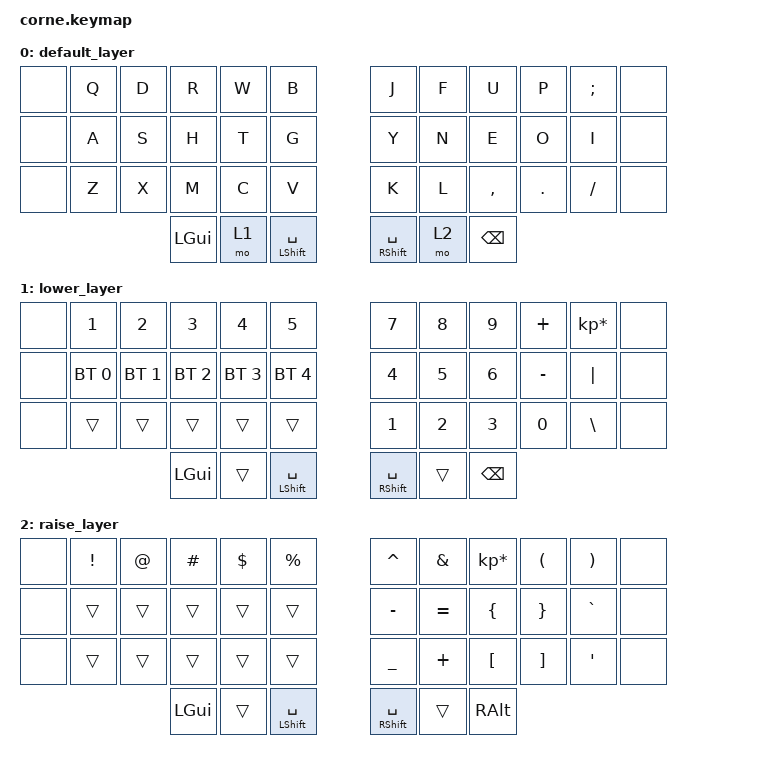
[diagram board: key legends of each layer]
// #include <dt-bindings/zmk/mouse.h>
// #include <dt-bindings/zmk/mouse.h>

#include <behaviors.dtsi>
#include <dt-bindings/zmk/bt.h>
#include <dt-bindings/zmk/keys.h>

#define DEFAULT 0
#define NUMBERS 1
#define SYMBOLS 2
#define BLUE_TOOTH_LAYER 3
#define GAMEPAD 4
#define COMBO_DELAY 50

&mt {
    tapping-term-ms = <400>;
    quick-tap-ms = <175>;
    require-prior-idle-ms = <150>;
    flavor = "balanced";
};

/ {
    //   macros {
    //       shift: shift {
    //           compatible = "zmk,behavior-macro";
    //           #binding-cells = <0>;
    //           bindings = <&none>, <&macro_press>, <&kp>;
    //           label = "SHIFT";
    //       };
    //   };

    combos {
        compatible = "zmk,combos";

        enter {
            bindings = <&kp ENTER>;
            key-positions = <38 39>;
        };
    };

    keymap {
        compatible = "zmk,keymap";

        default_layer {
            // --------------------------------------------------------------------------------
            // | none |  q  |  d  |  r  |  w  |  b  |   |  j  |  f   |  u  |  p  |  ;  | none |
            // | none |  a  |  s  |  h  |  t  |  g  |   |  y  |  n   |  e  |  o  |  i  | none |
            // | none |  z  |  x  |  m  |  c  |  v  |   |  k  |  ;   |  ,  |  .  |  /  | none |
            //                    | GUI | LWR | SPC |   | ENT | RSE  | ALT |

            bindings = <
&none  &kp Q  &kp D  &kp R     &kp W  &kp B                   &kp J                  &kp F  &kp U          &kp P    &kp SEMI  &none
&none  &kp A  &kp S  &kp H     &kp T  &kp G                   &kp Y                  &kp N  &kp E          &kp O    &kp I     &none
&none  &kp Z  &kp X  &kp M     &kp C  &kp V                   &kp K                  &kp L  &kp COMMA      &kp DOT  &kp FSLH  &none
                     &kp LGUI  &mo 1  &mt LEFT_SHIFT SPACE    &mt RIGHT_SHIFT SPACE  &mo 2  &kp BACKSPACE
            >;
        };

        lower_layer {
            // -------------------------------------------------------------------------------
            // | none |  1  |  2  |  3  |  4  |  5  |   |  7  |  8  |  9  |  +  |  *  | none |
            // | none | BT1 | BT2 | BT3 | BT4 | BT5 |   |  4  |  5  |  6  |  -  |  |  | none |
            // | none |     |     |     |     |     |   |  1  |  2  |  3  |  0  |  \  | none |
            //                    | GUI |     | SPC |   | ENT |     | ALT |

            bindings = <
&none  &kp N1        &kp N2        &kp N3        &kp N4        &kp N5                  &kp NUMBER_7           &kp NUMBER_8  &kp NUMBER_9   &kp PLUS      &kp KP_MULTIPLY  &none
&none  &bt BT_SEL 0  &bt BT_SEL 1  &bt BT_SEL 2  &bt BT_SEL 3  &bt BT_SEL 4            &kp NUMBER_4           &kp NUMBER_5  &kp NUMBER_6   &kp MINUS     &kp PIPE         &none
&none  &trans        &trans        &trans        &trans        &trans                  &kp NUMBER_1           &kp NUMBER_2  &kp NUMBER_3   &kp NUMBER_0  &kp BSLH         &none
                                   &kp LGUI      &trans        &mt LEFT_SHIFT SPACE    &mt RIGHT_SHIFT SPACE  &trans        &kp BACKSPACE
            >;
        };

        raise_layer {
            // -------------------------------------------------------------------------------
            // | none |  !  |  @  |  #  |  $  |  %  |   |  ^  |  &  |  *  |  (  |  )  | none |
            // | none |     |     |     |     |     |   |  -  |  =  |  {  |  }  |  '  | none |
            // | none |     |     |     |     |     |   |  _  |  +  |  [  |  ]  |  "  | none |
            //                    | GUI |     | SPC |   | ENT |     | ALT |

            bindings = <
&none  &kp EXCL  &kp AT  &kp HASH  &kp DLLR  &kp PRCNT               &kp CARET              &kp AMPS   &kp KP_MULTIPLY  &kp LPAR  &kp RPAR   &none
&none  &trans    &trans  &trans    &trans    &trans                  &kp MINUS              &kp EQUAL  &kp LBRC         &kp RBRC  &kp GRAVE  &none
&none  &trans    &trans  &trans    &trans    &trans                  &kp UNDER              &kp PLUS   &kp LBKT         &kp RBKT  &kp SQT    &none
                         &kp LGUI  &trans    &mt LEFT_SHIFT SPACE    &mt RIGHT_SHIFT SPACE  &trans     &kp RALT
            >;
        };
    };
};
